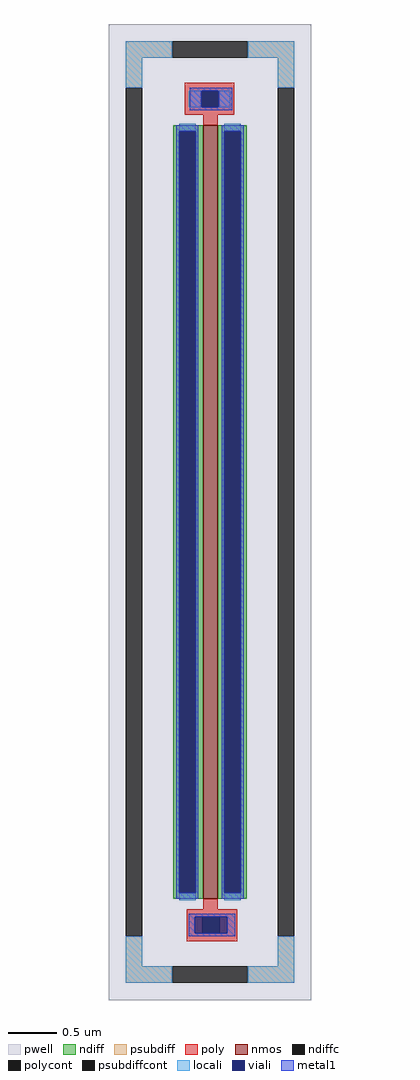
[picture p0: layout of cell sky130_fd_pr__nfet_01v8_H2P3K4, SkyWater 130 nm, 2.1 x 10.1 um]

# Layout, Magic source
magic
tech sky130A
<< pwell >>
rect -105 -505 105 505
<< nmos >>
rect -7 -400 8 400
<< ndiff >>
rect -38 394 -7 400
rect -38 -394 -32 394
rect -15 -394 -7 394
rect -38 -400 -7 -394
rect 8 394 38 400
rect 8 -394 15 394
rect 32 -394 38 394
rect 8 -400 38 -394
<< ndiffc >>
rect -32 -394 -15 394
rect 15 -394 32 394
<< psubdiff >>
rect -87 470 -39 487
rect 39 470 87 487
rect -87 439 -70 470
rect 70 439 87 470
rect -87 -470 -70 -439
rect 70 -470 87 -439
rect -87 -487 -39 -470
rect 39 -487 87 -470
<< psubdiffcont >>
rect -39 470 39 487
rect -87 -439 -70 439
rect 70 -439 87 439
rect -39 -487 39 -470
<< poly >>
rect -26 436 25 444
rect -26 419 -9 436
rect 9 419 25 436
rect -26 411 25 419
rect -7 400 8 411
rect -7 -411 8 -400
rect -24 -419 28 -411
rect -24 -436 -8 -419
rect 10 -436 28 -419
rect -24 -444 28 -436
<< polycont >>
rect -9 419 9 436
rect -8 -436 10 -419
<< locali >>
rect -87 470 -39 487
rect 39 470 87 487
rect -87 439 -70 470
rect 70 439 87 470
rect -22 419 -9 436
rect 9 419 21 436
rect -32 394 -15 402
rect -32 -402 -15 -394
rect 15 394 32 402
rect 15 -402 32 -394
rect -87 -470 -70 -439
rect 70 -470 87 -439
rect -87 -487 -39 -470
rect 39 -487 87 -470
<< viali >>
rect -9 419 9 436
rect -32 -394 -15 394
rect 15 -394 32 394
rect -16 -436 -8 -419
rect -8 -436 10 -419
rect 10 -436 18 -419
<< metal1 >>
rect -21 436 23 439
rect -21 419 -9 436
rect 9 419 23 436
rect -21 416 23 419
rect -35 394 -12 400
rect -35 -394 -32 394
rect -15 -394 -12 394
rect -35 -400 -12 -394
rect 12 394 35 400
rect 12 -394 15 394
rect 32 -394 35 394
rect 12 -400 35 -394
rect -22 -419 26 -416
rect -22 -436 -16 -419
rect 18 -436 26 -419
rect -22 -439 26 -436
<< properties >>
string FIXED_BBOX -79 -478 79 478
string gencell sky130_fd_pr__nfet_01v8
string library sky130
string parameters w 8 l 0.150 m 1 nf 1 diffcov 100 polycov 100 guard 1 glc 1 grc 1 gtc 1 gbc 1 tbcov 100 rlcov 100 topc 1 botc 1 poverlap 0 doverlap 1 lmin 0.15 wmin 0.42 compatible {sky130_fd_pr__nfet_01v8 sky130_fd_pr__nfet_01v8_lvt  sky130_fd_bs_flash__special_sonosfet_star  sky130_fd_pr__nfet_g5v0d10v5 sky130_fd_pr__nfet_05v0_nvt  sky130_fd_pr__nfet_03v3_nvt} full_metal 1 viasrc 100 viadrn 100 viagate 100 viagb 0 viagr 0 viagl 0 viagt 0
<< end >>
